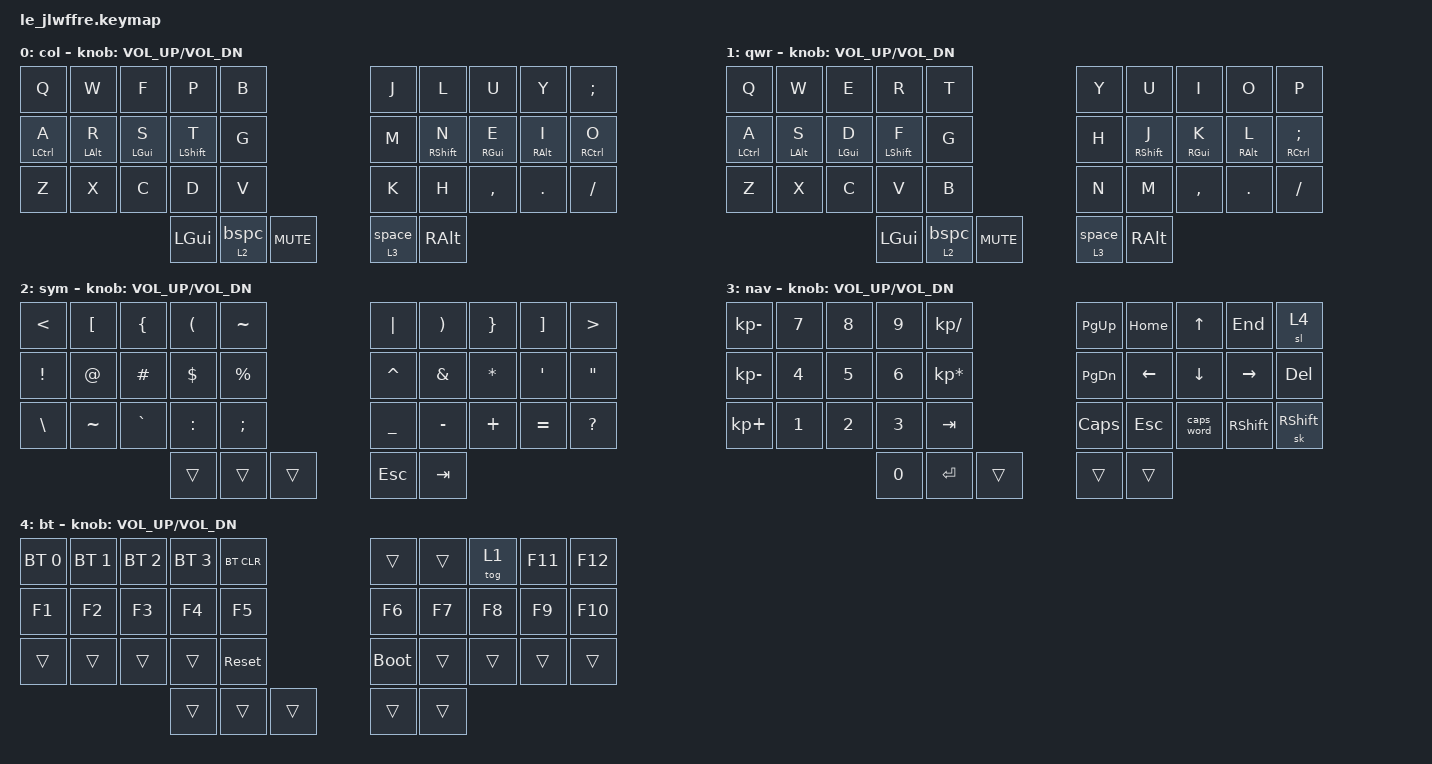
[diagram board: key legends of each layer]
/*
 * Copyright (c) 2022 The ZMK Contributors
 *
 * SPDX-License-Identifier: MIT
 */

#include <behaviors.dtsi>
#include <dt-bindings/zmk/keys.h>
#include <dt-bindings/zmk/bt.h>

/ {
    behaviors {
        hrm: homewrow_mods {
            compatible = "zmk,behavior-hold-tap";
            label = "HOMEROW_MODS";
            bindings = <&kp>, <&kp>;

            #binding-cells = <2>;
            tapping-term-ms = <200>;
            require-prior-idle-ms = <125>;
            hold-trigger-key-positions = <0 1 2 3 4 5 17 16 15 14 13 12 25 26 27 28 29 37 36 38 24 6 7 8 9 10 11 23 22 21 20 19 18 30 39 40 41 31 32 33 35 34>;
            flavor = "tap-preferred";
        };

        hrs: homewrow_shift {
            compatible = "zmk,behavior-hold-tap";
            label = "HOMEROW_SHIFT";
            bindings = <&kp>, <&kp>;

            #binding-cells = <2>;
            tapping-term-ms = <200>;
            hold-trigger-key-positions = <6 7 8 9 10 11 18 19 20 21 22 23 30 31 32 33 34 35 39 40 41 17 4 16 5 29 28 37 36 38 27 15 3 2 14 26 25 13 1 0 12 24>;
            flavor = "balanced";
        };

        lh: layer_hold {
          compatible = "zmk,behavior-hold-tap";
          label = "LAYER_HOLD";
          bindings = <&mo>, <&kp>;

          #binding-cells = <2>;
          tapping-term-ms = <200>;
          flavor = "hold-preferred";
        };

        bspc: bspc_del_on_shift {
            compatible = "zmk,behavior-mod-morph";
            label = "BSPC_DEL_ON_SHIFT";
            bindings = <&kp BSPC>, <&kp DEL>;

            #binding-cells = <0>;
            mods = <(MOD_LSFT|MOD_RSFT)>;
        };

        // the following only USES one argument but requires 2, so pass in the layer as the
        // first param and a dummy value like 0 as second
        lhbs: layer_hold_bspc_override {
            compatible = "zmk,behavior-hold-tap";
            label = "LAYER_HOLD_BSPC_OVERRIDE";
            bindings = <&mo>, <&bspc>;

            #binding-cells = <2>;
            tapping-term-ms = <200>;
        };

        space: space_tab_on_shift {
            compatible = "zmk,behavior-mod-morph";
            label = "SPACE_TAB_ON_SHIFT";
            bindings = <&kp SPACE>, <&kp TAB>;

            #binding-cells = <0>;
            mods = <(MOD_LSFT)>;
        };

        ltsp: layer_tap_space_override {
            compatible = "zmk,behavior-hold-tap";
            label = "LAYER_TAP_SPACE_OVERRIDE";
            bindings = <&mo>, <&space>;

            #binding-cells = <2>;
            tapping-term-ms = <200>;
            flavor = "tap-preferred";
        };
    };

    combos {
        compatible = "zmk,combos";

        escape {
            bindings = <&kp ESC>;
            key-positions = <21 22>;
            timeout-ms = <30>;
            layers = <0 1>;
        };

        enter {
            bindings = <&kp ENTER>;
            key-positions = <27 28>;
            timeout-ms = <30>;
            layers = <0 1>;
        };
    };

    keymap {
        compatible = "zmk,keymap";
        col {
            bindings = <
        //╭──────────┬──────────┬──────────┬──────────┬──────────╮                      ╭──────────┬──────────┬──────────┬──────────┬──────────╮
        //│  Q       │  W       │  E       │  R       │  T       │                      │  Y       │  U       │  I       │  O       │  P       │
             &kp Q      &kp W      &kp F      &kp P      &kp B                             &kp J      &kp L      &kp U      &kp Y      &kp SEMI
        //├──────────┼──────────┼──────────┼──────────┼──────────┤                      ├──────────┼──────────┼──────────┼──────────┼──────────┤
        //│  A       │  S       │  D       │  F       │  G       │                      │  H       │  J       │  K       │  L       │  ;:      │
        &hrm LCTRL A  &hrm LALT R  &hrm LGUI S  &hrs LSHFT T  &kp G                     &kp M   &hrs RSHFT N  &hrm RGUI E  &hrm RALT I  &hrm RCTRL O
        //├──────────┼──────────┼──────────┼──────────┼──────────┤                      ├──────────┼──────────┼──────────┼──────────┼──────────┤
        //│  Z       │  X       │  C       │  V       │  B       │                      │  N       │  M       │  , <     │  . >     │  / ?     │
             &kp Z      &kp X      &kp C      &kp D      &kp V                             &kp K      &kp H      &kp COMMA  &kp DOT    &kp FSLH
        //╰──────────┴──────────┴──────────┼──────────┼──────────┤                      ├──────────┼──────────┼──────────┴──────────┴──────────╯
                                             &kp LGUI    &lhbs 2 0       &kp C_MUTE      &ltsp 3 0  &kp RIGHT_ALT
        //                                 ╰──────────┴──────────╯                      ╰──────────┴──────────╯
            >;
            sensor-bindings = <&inc_dec_kp C_VOL_UP C_VOL_DN>;
        };

        qwr {
            bindings = <
        //╭──────────┬──────────┬──────────┬──────────┬──────────╮                      ╭──────────┬──────────┬──────────┬──────────┬──────────╮
        //│  Q       │  W       │  E       │  R       │  T       │                      │  Y       │  U       │  I       │  O       │  P       │
             &kp Q      &kp W      &kp E      &kp R      &kp T                             &kp Y      &kp U      &kp I      &kp O      &kp P
        //├──────────┼──────────┼──────────┼──────────┼──────────┤                      ├──────────┼──────────┼──────────┼──────────┼──────────┤
        //│  A       │  S       │  D       │  F       │  G       │                      │  H       │  J       │  K       │  L       │  ;:      │
        &hrm LCTRL A  &hrm LALT S  &hrm LGUI D  &hrs LSHFT F  &kp G                     &kp H   &hrs RSHFT J  &hrm RGUI K  &hrm RALT L  &hrm RCTRL SEMI
        //├──────────┼──────────┼──────────┼──────────┼──────────┤                      ├──────────┼──────────┼──────────┼──────────┼──────────┤
        //│  Z       │  X       │  C       │  V       │  B       │                      │  N       │  M       │  , <     │  . >     │  / ?     │
             &kp Z      &kp X      &kp C      &kp V      &kp B                             &kp N      &kp M      &kp COMMA  &kp DOT    &kp FSLH
        //╰──────────┴──────────┴──────────┼──────────┼──────────┤                      ├──────────┼──────────┼──────────┴──────────┴──────────╯
                                             &kp LGUI    &lhbs 2 0       &kp C_MUTE      &ltsp 3 0  &kp RIGHT_ALT
        //                                 ╰──────────┴──────────╯                      ╰──────────┴──────────╯
            >;
            sensor-bindings = <&inc_dec_kp C_VOL_UP C_VOL_DN>;
        };

        sym {
            bindings = <
        //╭──────────┬──────────┬──────────┬──────────┬──────────╮      ╭──────────┬──────────┬──────────┬──────────┬──────────╮
        //│  !       │  @       │   #      │    $     │     %    │      │  ^       │   &      │  *       │  (       │  )       │
        &kp LESS_THAN    &kp LBKT   &kp LBRC   &kp LPAR    &kp TILDE      &kp PIPE       &kp RPAR     &kp RBRC    &kp RBKT   &kp GREATER_THAN
        //├──────────┼──────────┼──────────┼──────────┼──────────┤      ├──────────┼──────────┼──────────┼──────────┼──────────┤
        //│  1       │  2       │  3       │  4       │  5       │      │  6       │  7       │  8       │  9       │  0       │
        &kp EXCLAMATION  &kp AT     &kp HASH   &kp DOLLAR  &kp PERCENT    &kp CARET      &kp AMPS     &kp STAR    &kp SQT    &kp DQT
        //├──────────┼──────────┼──────────┼──────────┼──────────┤      ├──────────┼──────────┼──────────┼──────────┼──────────┤
        //│   |      │ ~        │ `~       │  "       │ '"       │      │  _       │   -      │  +       │  =       │  \       │
        &kp BSLH         &kp TILDE  &kp GRAVE  &kp COLON   &kp SEMI       &kp UNDER      &kp MINUS    &kp PLUS    &kp EQUAL  &kp QMARK
        //╰──────────┴──────────┴──────────┼──────────┼──────────┤      ├──────────┼──────────┼──────────┴──────────┴──────────╯
                                   &trans         &trans        &trans           &kp ESC  &kp TAB
        //                                 ╰──────────┴──────────╯      ╰──────────┴──────────╯
            >;
            sensor-bindings = <&inc_dec_kp C_VOL_UP C_VOL_DN>;
        };

        // TODO: fix graphics on layers
        nav {
            bindings = <
        //╭──────────┬──────────┬──────────┬──────────┬──────────╮      ╭──────────┬──────────┬──────────┬──────────┬──────────╮
        //│  BT 0    │  BT 1    │  BT 2    │  BT 3    │  BT CLR  │      │  PG UP   │  HOME    │  UP      │  END     │  SL 4    │
        &kp KP_MINUS  &kp N7      &kp N8      &kp N9   &kp KP_SLASH       &kp PG_UP  &kp HOME    &kp UP     &kp END   &sl 4
        //├──────────┼──────────┼──────────┼──────────┼──────────┤      ├──────────┼──────────┼──────────┼──────────┼──────────┤
        //│  TAB     │  TAB     │   ESC    │  F11     │  F12     │      │  PG DN   │  LEFT    │  DOWN    │  RIGHT   │  DEL     │
          &kp KP_MINUS   &kp N4  &kp N5  &kp N6   &kp KP_MULTIPLY          &kp PG_DN  &kp LEFT  &kp DOWN    &kp RIGHT   &kp DEL
        //├──────────┼──────────┼──────────┼──────────┼──────────┤      ├──────────┼──────────┼──────────┼──────────┼──────────┤
        //│  F1      │  F2      │  F3      │  F4      │  F5      │      │  F6      │  F7      │  F8      │  F9      │  F10     │
          &kp KP_PLUS  &kp N1    &kp N2      &kp N3   &kp TAB          &kp CAPS   &kp ESC   &caps_word  &kp RSHFT  &sk RSHFT
        //╰──────────┴──────────┴──────────┼──────────┼──────────┤      ├──────────┼──────────┼──────────┴──────────┴──────────╯
                                        &kp N0   &kp ENTER       &trans     &trans    &trans
        //                                 ╰──────────┴──────────╯      ╰──────────┴──────────╯
            >;
            sensor-bindings = <&inc_dec_kp C_VOL_UP C_VOL_DN>;
        };

        bt {
            display-name = "bt";
            bindings = <
        //╭──────────┬──────────┬──────────┬──────────┬──────────╮      ╭──────────┬──────────┬──────────┬──────────┬──────────╮
        //│     -    │     7    │     8    │     9    │     /    │      │  PG UP   │  HOME    │    UP    │  END     │  INSERT  │
        &bt BT_SEL 0  &bt BT_SEL 1  &bt BT_SEL 2  &bt BT_SEL 3  &bt BT_CLR    &trans  &trans  &tog 1  &kp F11 &kp F12
        //├──────────┼──────────┼──────────┼──────────┼──────────┤      ├──────────┼──────────┼──────────┼──────────┼──────────┤
        //│     +    │     4    │     5    │    6     │    *     │      │  PG DN   │  LEFT    │  DOWN    │  RIGHT   │  DEL     │
        &kp F1        &kp F2        &kp F3        &kp F4        &kp F5          &kp F6  &kp F7  &kp F8  &kp F9  &kp F10
        //├──────────┼──────────┼──────────┼──────────┼──────────┤      ├──────────┼──────────┼──────────┼──────────┼──────────┤
        //│    0     │     1    │     2    │    3     │    =     │      │          │  CAPS    │          │          │          │
            &trans      &trans     &trans     &trans     &sys_reset      &bootloader      &trans      &trans     &trans     &trans
        //╰──────────┴──────────┴──────────┼──────────┼──────────┤      ├──────────┼──────────┼──────────┴──────────┴──────────╯
                                              &trans    &trans    &trans    &trans    &trans
        //                                 ╰──────────┴──────────╯      ╰──────────┴──────────╯
            >;
            sensor-bindings = <&inc_dec_kp C_VOL_UP C_VOL_DN>;
        };

    };

};
